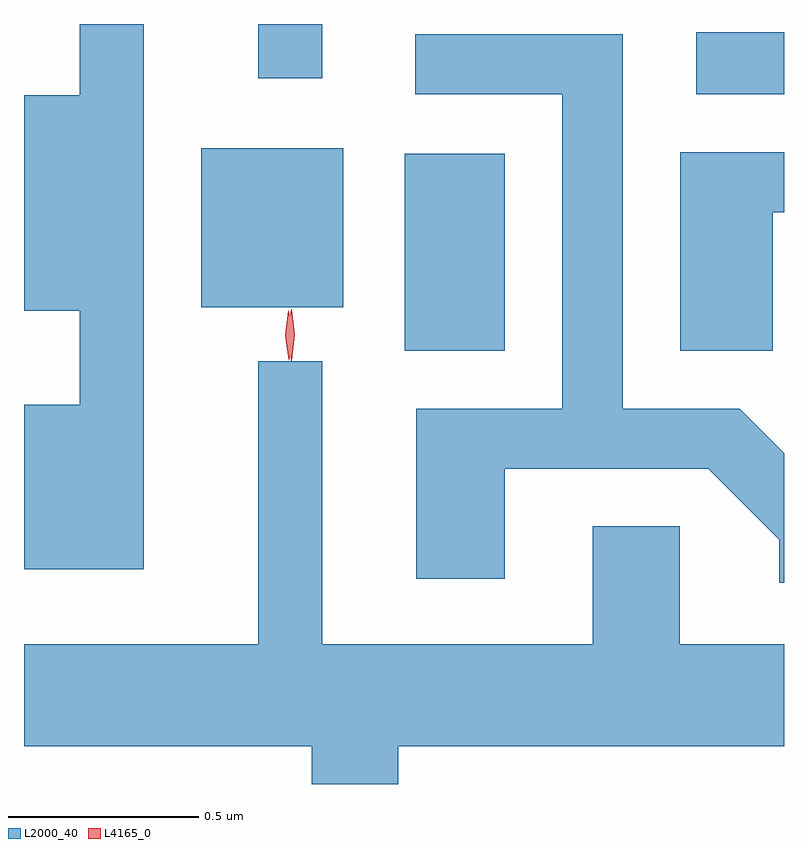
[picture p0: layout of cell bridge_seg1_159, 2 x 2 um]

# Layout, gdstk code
import gdstk
lib = gdstk.Library(unit=1e-6, precision=1e-09)
def R(c, l, rs):  # rectangles x0, y0, x1, y1
    for r in rs: c.add(gdstk.rectangle(r[:2], r[2:], *l))
def P(c, l, *ps):  # polygons
    for p in ps: c.add(gdstk.Polygon(p, *l))
L2000_40 = (2000, 40)
L4165_0 = (4165, 0)

bridge_seg1_159 = lib.new_cell('bridge_seg1_159')
R(bridge_seg1_159, L2000_40, [(927.166,947.236,927.429,947.754), (926.631,947.351,927.004,947.769), (927.933,947.911,928.164,948.074), (926.781,947.953,926.949,948.096)])
P(bridge_seg1_159, L2000_40, [(926.479,948.096),(926.311,948.096),(926.311,947.909),(926.164,947.909),(926.164,947.341),(926.311,947.341),(926.311,947.094),(926.164,947.094),(926.164,946.661),(926.479,946.661)],
  [(928.164,946.967),(928.047,947.084),(927.739,947.084),(927.739,948.069),(927.193,948.069),(927.193,947.911),(927.581,947.911),(927.581,947.084),(927.196,947.084),(927.196,946.636),(927.429,946.636),(927.429,946.926),(927.964,946.926),(928.151,946.739),(928.151,946.626),(928.164,946.626)],
  [(928.134,947.601),(928.164,947.601),(928.164,947.759),(927.891,947.759),(927.891,947.236),(928.134,947.236)],
  [(927.149,946.196),(928.164,946.196),(928.164,946.464),(927.889,946.464),(927.889,946.774),(927.661,946.774),(927.661,946.464),(926.949,946.464),(926.949,947.208),(926.781,947.208),(926.781,946.464),(926.164,946.464),(926.164,946.196),(926.921,946.196),(926.921,946.096),(927.149,946.096)])
P(bridge_seg1_159, L4165_0, [(926.867,947.209),(926.867,947.21),(926.857,947.278),(926.867,947.346),(926.867,947.346),(926.868,947.346),(926.877,947.278),(926.868,947.21)],
  [(926.861,947.213),(926.861,947.213),(926.851,947.277),(926.86,947.341),(926.861,947.342),(926.861,947.341),(926.871,947.277),(926.862,947.213)])

lib.write_gds('bridge_seg1_159.gds')
